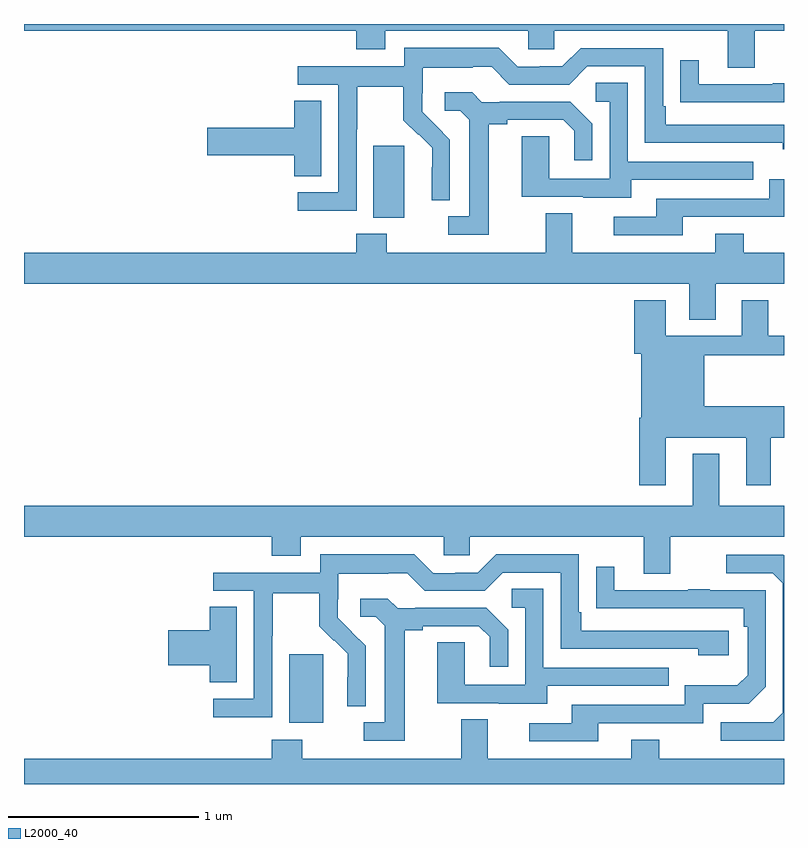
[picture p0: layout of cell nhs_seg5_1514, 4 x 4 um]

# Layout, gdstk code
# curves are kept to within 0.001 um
import gdstk
lib = gdstk.Library(unit=1e-6, precision=1e-09)
def R(c, l, rs):  # rectangles x0, y0, x1, y1
    for r in rs: c.add(gdstk.rectangle(r[:2], r[2:], *l))
def P(c, l, *ps):  # polygons
    for p in ps: c.add(gdstk.Polygon(p, *l))
L2000_40 = (2000, 40)

nhs_seg5_1514 = lib.new_cell('nhs_seg5_1514')
R(nhs_seg5_1514, L2000_40, [(204.395,849.122,204.574,849.483), (204.839,851.78,205,852.157)])
P(nhs_seg5_1514, L2000_40, [(206.845,852.764),(207,852.764),(207,852.799),(203,852.799),(203,852.764),(204.749,852.764),(204.749,852.665),(204.901,852.665),(204.901,852.764),(205.653,852.764),(205.653,852.666),(205.791,852.666),(205.791,852.764),(206.705,852.764),(206.705,852.57),(206.845,852.57)],
  [(204.75,852.244),(204.753,852.244),(204.753,852.468),(204.997,852.468),(204.997,852.293),(205.074,852.216),(205.077,852.219),(205.148,852.149),(205.148,852.044),(205.145,852.044),(205.145,851.872),(205.242,851.872),(205.242,852.19),(205.096,852.338),(205.096,852.435),(205.098,852.435),(205.098,852.569),(205.361,852.569),(205.361,852.573),(205.461,852.573),(205.554,852.48),(205.869,852.48),(205.965,852.576),(206.268,852.576),(206.268,852.174),(206.993,852.174),(206.993,852.14),(207,852.14),(207,852.27),(206.377,852.27),(206.377,852.367),(206.364,852.367),(206.364,852.672),(205.929,852.672),(205.833,852.576),(205.715,852.576),(205.715,852.573),(205.599,852.573),(205.499,852.673),(205.002,852.673),(205.002,852.576),(204.441,852.576),(204.441,852.48),(204.654,852.48),(204.654,851.913),(204.441,851.913),(204.441,851.815),(204.75,851.815)],
  [(207,852.488),(206.941,852.488),(206.941,852.483),(206.551,852.483),(206.551,852.607),(206.455,852.607),(206.455,852.388),(206.557,852.388),(206.557,852.387),(207,852.387)],
  [(206.197,851.979),(206.837,851.979),(206.837,852.075),(206.178,852.075),(206.178,852.491),(206.01,852.491),(206.01,852.39),(206.082,852.39),(206.082,851.985),(205.764,851.985),(205.764,852.209),(205.619,852.209),(205.619,851.889),(205.943,851.889),(205.943,851.885),(206.197,851.885)],
  [(205.447,852.272),(205.543,852.272),(205.543,852.294),(205.838,852.294),(205.895,852.237),(205.895,852.081),(205.992,852.081),(205.992,852.274),(205.876,852.39),(205.504,852.39),(205.504,852.387),(205.41,852.387),(205.358,852.439),(205.215,852.439),(205.215,852.342),(205.296,852.342),(205.343,852.295),(205.343,851.787),(205.233,851.787),(205.233,851.691),(205.447,851.691)],
  [(204.565,852.395),(204.422,852.395),(204.422,852.254),(203.964,852.254),(203.964,852.107),(204.422,852.107),(204.422,851.998),(204.565,851.998)],
  [(206.467,851.784),(207,851.784),(207,851.983),(206.922,851.983),(206.922,851.88),(206.327,851.88),(206.327,851.784),(206.103,851.784),(206.103,851.688),(206.467,851.688)],
  [(206.641,851.432),(207,851.432),(207,851.596),(206.787,851.596),(206.787,851.695),(206.639,851.695),(206.639,851.596),(205.885,851.596),(205.885,851.804),(205.745,851.804),(205.745,851.596),(204.909,851.596),(204.909,851.695),(204.749,851.695),(204.749,851.596),(203,851.596),(203,851.432),(206.501,851.432),(206.501,851.242),(206.641,851.242)],
  [(206.377,850.622),(206.801,850.622),(206.801,850.371),(206.929,850.371),(206.929,850.622),(207,850.622),(207,850.786),(206.581,850.786),(206.581,851.056),(207,851.056),(207,851.157),(206.917,851.157),(206.917,851.344),(206.777,851.344),(206.777,851.157),(206.377,851.157),(206.377,851.344),(206.213,851.344),(206.213,851.064),(206.249,851.064),(206.249,850.726),(206.237,850.726),(206.237,850.371),(206.377,850.371)],
  [(206.401,850.1),(207,850.1),(207,850.264),(206.659,850.264),(206.659,850.537),(206.519,850.537),(206.519,850.264),(203,850.264),(203,850.1),(204.305,850.1),(204.305,850.001),(204.457,850.001),(204.457,850.1),(205.209,850.1),(205.209,850.002),(205.347,850.002),(205.347,850.1),(206.261,850.1),(206.261,849.906),(206.401,849.906)],
  [(204.306,849.58),(204.309,849.58),(204.309,849.804),(204.553,849.804),(204.553,849.629),(204.63,849.552),(204.633,849.555),(204.704,849.485),(204.704,849.362),(204.702,849.362),(204.702,849.208),(204.798,849.208),(204.798,849.526),(204.652,849.674),(204.652,849.771),(204.654,849.771),(204.654,849.905),(204.917,849.905),(204.917,849.909),(205.017,849.909),(205.11,849.816),(205.425,849.816),(205.521,849.912),(205.824,849.912),(205.824,849.51),(206.549,849.51),(206.549,849.476),(206.71,849.476),(206.71,849.606),(205.933,849.606),(205.933,849.703),(205.92,849.703),(205.92,850.008),(205.485,850.008),(205.389,849.912),(205.271,849.912),(205.271,849.909),(205.155,849.909),(205.055,850.009),(204.558,850.009),(204.558,849.912),(203.997,849.912),(203.997,849.816),(204.21,849.816),(204.21,849.249),(203.997,849.249),(203.997,849.151),(204.306,849.151)],
  [(207,850.002),(206.997,850.005),(206.697,850.005),(206.697,849.909),(206.94,849.909),(206.994,849.855),(206.994,849.174),(206.943,849.123),(206.667,849.123),(206.667,849.027),(207,849.027)],
  [(206.023,849.12),(206.574,849.12),(206.574,849.222),(206.814,849.222),(206.904,849.312),(206.904,849.819),(206.609,849.819),(206.609,849.824),(206.497,849.824),(206.497,849.819),(206.107,849.819),(206.107,849.943),(206.011,849.943),(206.011,849.724),(206.788,849.723),(206.788,849.626),(206.808,849.626),(206.808,849.372),(206.755,849.319),(206.478,849.319),(206.478,849.216),(205.883,849.216),(205.883,849.12),(205.659,849.12),(205.659,849.024),(206.023,849.024)],
  [(205.753,849.315),(206.393,849.315),(206.393,849.411),(205.734,849.411),(205.734,849.827),(205.566,849.827),(205.566,849.726),(205.638,849.726),(205.638,849.321),(205.32,849.321),(205.32,849.545),(205.175,849.545),(205.175,849.225),(205.499,849.225),(205.499,849.221),(205.753,849.221)],
  [(205.003,849.608),(205.099,849.608),(205.099,849.63),(205.394,849.63),(205.451,849.573),(205.451,849.417),(205.548,849.417),(205.548,849.61),(205.432,849.726),(205.06,849.726),(205.06,849.723),(204.966,849.723),(204.914,849.775),(204.771,849.775),(204.771,849.678),(204.852,849.678),(204.899,849.631),(204.899,849.123),(204.789,849.123),(204.789,849.027),(205.003,849.027)],
  [(204.121,849.731),(203.978,849.731),(203.978,849.608),(203.76,849.608),(203.76,849.425),(203.978,849.425),(203.978,849.334),(204.121,849.334)],
  [(207,848.932),(206.343,848.932),(206.343,849.031),(206.195,849.031),(206.195,848.932),(205.441,848.932),(205.441,849.14),(205.301,849.14),(205.301,848.932),(204.465,848.932),(204.465,849.031),(204.305,849.031),(204.305,848.932),(203,848.932),(203,848.799),(207,848.799)])

lib.write_gds('nhs_seg5_1514.gds')
